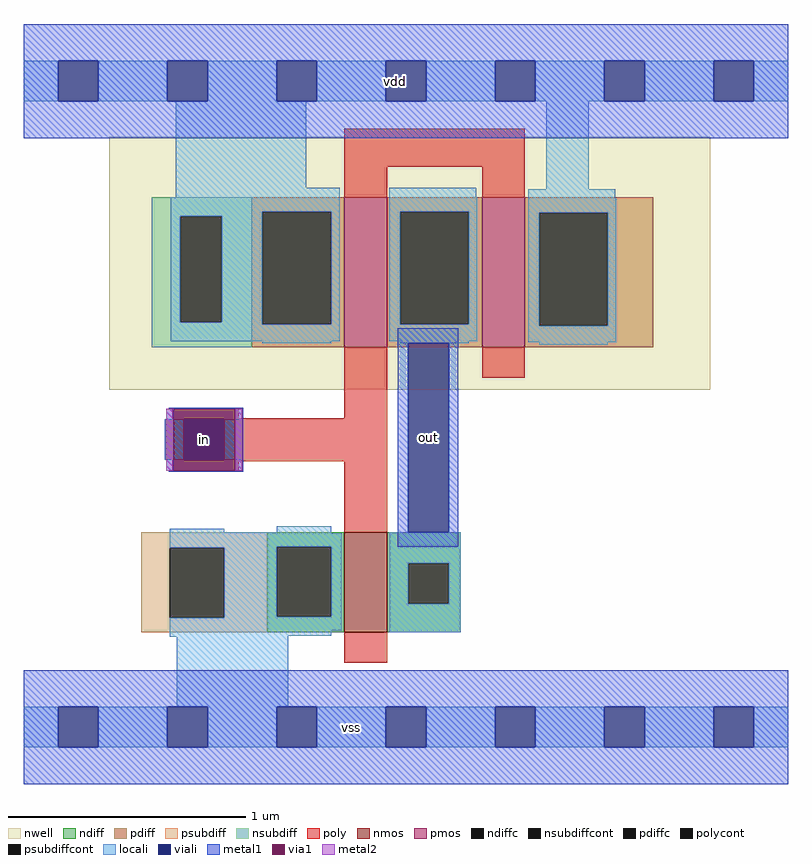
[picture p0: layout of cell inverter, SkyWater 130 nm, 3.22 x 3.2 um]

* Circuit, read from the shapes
.subckt inverter in out vss vdd
XM1 out in vss vss sky130_fd_pr__nfet_01v8 w=0.42 l=0.18
XM2 out in vdd vdd sky130_fd_pr__pfet_01v8 w=0.63 l=0.18 m=2
.ends

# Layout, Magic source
magic
tech sky130B
magscale 1 2
<< nwell >>
rect -204 204 302 417
<< nmos >>
rect -6 0 30 84
<< pmos >>
rect -6 240 30 366
rect 110 240 146 366
<< ndiff >>
rect -71 72 -6 84
rect -71 13 -63 72
rect -17 13 -6 72
rect -71 0 -6 13
rect 30 58 92 84
rect 30 24 48 58
rect 82 24 92 58
rect 30 0 92 24
<< pdiff >>
rect -84 354 -6 366
rect -84 259 -75 354
rect -17 259 -6 354
rect -84 240 -6 259
rect 30 354 110 366
rect 30 259 41 354
rect 99 259 110 354
rect 30 240 110 259
rect 146 353 254 366
rect 146 258 158 353
rect 216 258 254 353
rect 146 240 254 258
<< ndiffc >>
rect -63 13 -17 72
rect 48 24 82 58
<< pdiffc >>
rect -75 259 -17 354
rect 41 259 99 354
rect 158 258 216 353
<< psubdiff >>
rect -177 71 -71 84
rect -177 12 -153 71
rect -107 12 -71 71
rect -177 0 -71 12
<< nsubdiff >>
rect -168 350 -84 366
rect -168 261 -144 350
rect -109 261 -84 350
rect -168 240 -84 261
<< psubdiffcont >>
rect -153 12 -107 71
<< nsubdiffcont >>
rect -144 261 -109 350
<< poly >>
rect -6 392 146 424
rect -6 366 30 392
rect 110 366 146 392
rect -151 180 -95 189
rect -6 180 30 240
rect 110 214 146 240
rect -151 179 30 180
rect -157 145 -141 179
rect -107 145 30 179
rect -151 144 30 145
rect -151 135 -95 144
rect -6 84 30 144
rect -6 -26 30 0
<< polycont >>
rect -141 145 -107 179
<< locali >>
rect -276 447 -247 481
rect -213 447 -155 481
rect -121 447 -63 481
rect -29 447 29 481
rect 63 447 121 481
rect 155 447 213 481
rect 247 447 305 481
rect 339 447 368 481
rect -148 374 -38 447
rect -148 366 -10 374
rect -152 354 -10 366
rect -152 350 -75 354
rect -152 261 -144 350
rect -109 261 -75 350
rect -152 259 -75 261
rect -17 259 -10 354
rect -152 245 -10 259
rect 32 366 105 374
rect 164 373 200 447
rect 32 354 106 366
rect 32 259 41 354
rect 99 259 106 354
rect 32 245 106 259
rect 149 365 222 373
rect 149 353 223 365
rect 149 258 158 353
rect 216 258 223 353
rect -75 243 -17 245
rect 41 243 99 245
rect 149 244 223 258
rect -157 145 -141 179
rect -107 145 -91 179
rect -153 84 -107 87
rect -63 84 -17 89
rect 158 242 216 244
rect -153 83 -17 84
rect -153 72 -8 83
rect -153 71 -63 72
rect -107 13 -63 71
rect -17 13 -8 72
rect -107 12 -8 13
rect -153 1 -8 12
rect 32 58 92 84
rect 32 24 48 58
rect 82 24 92 58
rect -153 -3 -17 1
rect 32 0 92 24
rect -153 -4 -53 -3
rect -147 -63 -53 -4
rect -276 -97 -247 -63
rect -213 -97 -155 -63
rect -121 -97 -63 -63
rect -29 -97 29 -63
rect 63 -97 121 -63
rect 155 -97 213 -63
rect 247 -97 305 -63
rect 339 -97 368 -63
<< viali >>
rect -247 447 -213 481
rect -155 447 -121 481
rect -63 447 -29 481
rect 29 447 63 481
rect 121 447 155 481
rect 213 447 247 481
rect 305 447 339 481
rect -141 145 -107 179
rect 48 84 82 243
rect -247 -97 -213 -63
rect -155 -97 -121 -63
rect -63 -97 -29 -63
rect 29 -97 63 -63
rect 121 -97 155 -63
rect 213 -97 247 -63
rect 305 -97 339 -63
<< metal1 >>
rect -276 481 368 512
rect -276 447 -247 481
rect -213 447 -155 481
rect -121 447 -63 481
rect -29 447 29 481
rect 63 447 121 481
rect 155 447 213 481
rect 247 447 305 481
rect 339 447 368 481
rect -276 416 368 447
rect 39 243 90 256
rect -154 188 -91 189
rect -156 136 -150 188
rect -98 136 -91 188
rect -154 135 -91 136
rect 39 84 48 243
rect 82 84 90 243
rect 39 72 90 84
rect -276 -63 368 -32
rect -276 -97 -247 -63
rect -213 -97 -155 -63
rect -121 -97 -63 -63
rect -29 -97 29 -63
rect 63 -97 121 -63
rect 155 -97 213 -63
rect 247 -97 305 -63
rect 339 -97 368 -63
rect -276 -128 368 -97
<< via1 >>
rect -150 179 -98 188
rect -150 145 -141 179
rect -141 145 -107 179
rect -107 145 -98 179
rect -150 136 -98 145
<< metal2 >>
rect -156 136 -150 188
rect -98 136 -92 188
<< labels >>
flabel metal2 -141 145 -107 179 0 FreeSans 160 0 0 0 in
port 2 nsew default input
flabel viali 48 84 82 243 0 FreeSans 160 0 0 0 out
port 3 nsew default output
flabel metal1 -29 -128 29 -32 1 FreeSans 320 0 0 0 vss
port 4 n default bidirectional
flabel metal1 -10 416 84 512 1 FreeSans 320 0 0 0 vdd
port 5 n default bidirectional
<< end >>
